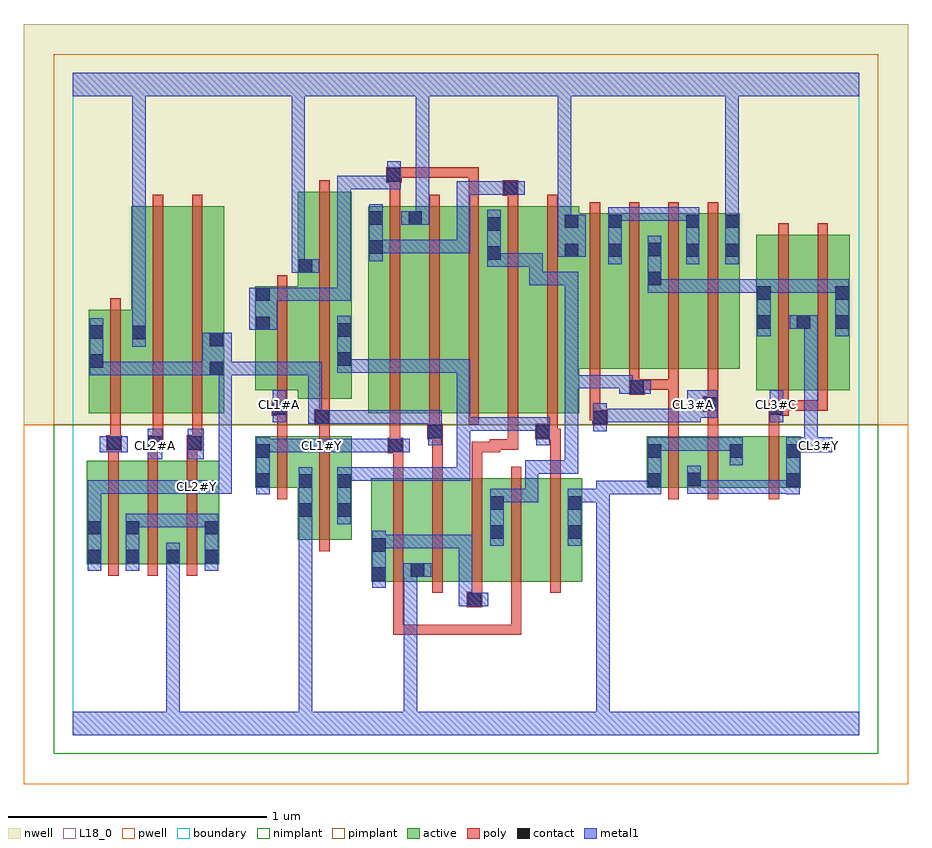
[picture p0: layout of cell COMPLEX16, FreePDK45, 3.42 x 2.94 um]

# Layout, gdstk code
import gdstk
lib = gdstk.Library(unit=1e-6, precision=1e-09)
def R(c, l, rs):  # rectangles x0, y0, x1, y1
    for r in rs: c.add(gdstk.rectangle(r[:2], r[2:], *l))
def A(c, l, x, y, w, h, nx, ny, dx, dy):  # array of equal rectangles
    R(c, l, [(x+i*dx, y+j*dy, x+i*dx+w, y+j*dy+h) for i in range(nx) for j in range(ny)])
active = (1, 0)
pwell = (2, 0)
nwell = (3, 0)
nimplant = (4, 0)
pimplant = (5, 0)
poly = (9, 0)
contact = (10, 0)
metal1 = (11, 0)
L18_0 = (18, 0)
boundary = (235, 0)

complex16 = lib.new_cell('COMPLEX16')
R(complex16, active, [(1.154,0.594,1.362,0.994), (1.154,0.594,1.214,0.994), (1.302,0.594,1.486,0.994), (1.486,0.594,1.67,0.994), (1.61,0.594,1.79,0.994), (1.79,0.594,1.97,0.994), (1.302,0.608,1.362,0.816), (0.054,0.66,0.262,1.06), (0.054,0.66,0.114,1.06), (0.202,0.66,0.418,1.06), (0.202,0.66,0.262,1.04), (0.358,0.66,0.566,1.06), (0.358,0.66,0.418,0.902), (0.506,0.66,0.566,1.06), (1.61,0.672,1.67,0.928), (1.91,0.672,1.97,0.994), (0.87,0.756,1.078,1.156), (1.018,0.756,1.078,1.156), (0.87,0.84,0.93,1.062), (0.706,0.956,0.766,1.156), (0.706,0.956,0.93,1.156), (2.218,0.956,2.278,1.156), (2.218,0.956,2.43,1.156), (2.37,0.956,2.594,1.156), (2.37,0.956,2.43,1.034), (2.534,0.956,2.814,1.156), (2.534,0.956,2.594,1.128), (2.754,0.956,2.814,1.156), (0.062,1.244,0.122,1.644), (0.062,1.244,0.286,1.644), (0.226,1.244,0.406,2.044), (0.406,1.244,0.586,2.044), (0.526,1.244,0.586,2.044), (1.142,1.244,1.354,2.044), (1.142,1.244,1.202,2.044), (1.294,1.244,1.474,2.044), (1.474,1.244,1.658,2.044), (1.598,1.244,1.778,2.044), (1.778,1.244,1.958,2.044), (0.87,1.3,1.078,2.1), (1.018,1.3,1.078,2.044), (0.706,1.334,0.766,1.734), (0.706,1.334,0.93,1.734), (2.642,1.334,2.702,1.844), (2.642,1.334,2.854,1.934), (2.794,1.334,3.002,1.934), (2.942,1.334,3.002,1.844), (0.226,1.346,0.286,1.746), (2.794,1.394,2.854,1.844), (1.898,1.416,1.958,2.016), (1.898,1.416,2.126,2.016), (2.066,1.416,2.278,2.016), (2.218,1.416,2.426,2.016), (2.218,1.416,2.278,1.934), (2.366,1.416,2.578,2.016), (2.366,1.416,2.426,2.016), (2.518,1.416,2.578,2.016), (1.294,1.446,1.354,2.044), (0.87,1.58,0.93,1.97), (1.598,1.65,1.658,2.044), (2.066,1.672,2.126,2.016)])
R(complex16, pwell, [(-0.188,-0.188,3.228,1.2)])
R(complex16, nwell, [(-0.188,1.2,3.228,2.748)])
R(complex16, nimplant, [(-0.072,-0.072,3.112,1.2)])
R(complex16, pimplant, [(-0.072,1.2,3.112,2.632)])
A(complex16, poly, 1.238, 0.55, 0.04, 0.488, 5, 1, 0.152, 0)
A(complex16, poly, 0.138, 0.616, 0.04, 0.488, 3, 1, 0.152, 0)
A(complex16, poly, 0.138, 1.064, 0.04, 0.076, 3, 1, 0.152, 0)
A(complex16, poly, 1.226, 1.2, 0.04, 0.888, 5, 1, 0.152, 0)
A(complex16, poly, 1.998, 1.372, 0.04, 0.688, 4, 1, 0.152, 0)
R(complex16, poly, [(1.238,0.388,1.278,0.428), (1.238,0.388,1.278,0.428), (1.238,0.388,1.278,0.428), (1.238,0.388,1.278,0.59), (1.238,0.388,1.384,0.428), (1.344,0.388,1.384,0.428), (1.344,0.388,1.384,0.428), (1.344,0.388,1.384,0.428), (1.344,0.388,1.384,0.428), (1.344,0.388,1.384,0.428), (1.344,0.388,1.49,0.428), (1.45,0.388,1.49,0.428), (1.45,0.388,1.688,0.428), (1.648,0.388,1.688,0.428), (1.648,0.388,1.688,0.428), (1.648,0.388,1.688,0.428), (1.648,0.388,1.734,0.428), (1.694,0.388,1.734,0.428), (1.694,0.388,1.734,0.59), (1.522,0.494,1.582,0.554), (1.542,0.514,1.582,0.59), (0.954,0.712,0.994,1.2), (0.79,0.912,0.83,1.2), (2.302,0.912,2.342,1.2), (2.454,0.912,2.494,1.2), (2.69,0.912,2.73,1.2), (1.238,0.998,1.278,1.13), (1.39,0.998,1.43,1.184), (1.542,0.998,1.582,1.134), (1.846,0.998,1.886,1.184), (1.218,1.09,1.278,1.15), (1.542,1.094,1.582,1.134), (1.542,1.094,1.652,1.134), (1.612,1.094,1.652,1.134), (1.612,1.094,1.652,1.144), (0.13,1.1,0.19,1.16), (0.138,1.1,0.178,1.14), (0.138,1.1,0.178,1.14), (0.29,1.1,0.33,1.14), (0.29,1.1,0.33,1.14), (0.29,1.1,0.35,1.16), (0.442,1.1,0.482,1.14), (0.442,1.1,0.482,1.14), (0.442,1.1,0.502,1.16), (1.612,1.104,1.652,1.144), (1.612,1.104,1.722,1.144), (1.682,1.104,1.722,1.144), (1.682,1.104,1.722,1.24), (1.226,1.11,1.266,1.15), (1.226,1.11,1.266,1.15), (1.226,1.11,1.266,1.24), (0.146,1.12,0.186,1.24), (0.31,1.12,0.35,1.24), (0.462,1.12,0.502,1.24), (1.37,1.144,1.43,1.204), (1.39,1.144,1.43,1.184), (1.39,1.144,1.43,1.184), (1.788,1.144,1.874,1.204), (1.834,1.144,1.874,1.184), (1.834,1.144,1.886,1.184), (0.79,1.16,0.83,1.274), (0.954,1.16,0.994,1.24), (2.302,1.16,2.342,1.376), (2.454,1.16,2.494,1.29), (2.69,1.16,2.73,1.274), (1.378,1.164,1.418,1.24), (1.834,1.164,1.874,1.24), (2.008,1.198,2.068,1.258), (0.146,1.2,0.186,1.688), (0.31,1.2,0.35,2.088), (0.462,1.2,0.502,2.088), (0.934,1.2,0.994,1.26), (0.954,1.2,0.994,1.24), (0.954,1.2,0.994,1.24), (1.998,1.218,2.038,1.412), (1.998,1.218,2.048,1.258), (2.008,1.218,2.048,1.258), (0.954,1.22,0.994,1.296), (0.77,1.234,0.83,1.294), (2.69,1.234,2.73,1.274), (2.69,1.234,2.73,1.274), (2.69,1.234,2.766,1.294), (2.434,1.25,2.494,1.31), (0.79,1.254,0.83,1.33), (0.79,1.254,0.83,1.294), (0.79,1.254,0.83,1.294), (2.726,1.254,2.766,1.33), (2.726,1.254,2.918,1.294), (2.726,1.254,2.766,1.294), (2.726,1.254,2.766,1.294), (2.878,1.254,2.918,1.33), (2.878,1.254,2.918,1.294), (0.954,1.256,0.994,2.144), (2.454,1.27,2.494,1.31), (2.454,1.27,2.494,1.31), (2.454,1.27,2.494,1.412), (0.79,1.29,0.83,1.778), (2.726,1.29,2.766,1.978), (2.878,1.29,2.918,1.978), (2.15,1.316,2.21,1.376), (2.15,1.336,2.19,1.412), (2.17,1.336,2.21,1.376), (2.17,1.336,2.21,1.376), (2.17,1.336,2.342,1.376), (2.302,1.336,2.342,1.412), (2.302,1.336,2.342,1.376), (2.302,1.336,2.342,1.376), (2.302,1.336,2.342,1.376), (1.226,2.048,1.266,2.174), (1.53,2.048,1.57,2.194), (1.682,2.048,1.722,2.124), (1.662,2.084,1.722,2.144), (1.212,2.134,1.272,2.194), (1.232,2.154,1.272,2.194), (1.232,2.154,1.272,2.194), (1.232,2.154,1.384,2.194), (1.344,2.154,1.384,2.194), (1.344,2.154,1.384,2.194), (1.344,2.154,1.384,2.194), (1.344,2.154,1.57,2.194), (1.53,2.154,1.57,2.194)])
R(complex16, contact, [(1.526,0.498,1.578,0.55), (1.158,0.598,1.21,0.65), (1.306,0.612,1.358,0.664), (0.058,0.664,0.11,0.716), (0.206,0.664,0.258,0.716), (0.362,0.664,0.414,0.716), (0.51,0.664,0.562,0.716), (1.158,0.71,1.21,0.762), (1.614,0.76,1.666,0.812), (1.914,0.76,1.966,0.812), (0.058,0.776,0.11,0.828), (0.206,0.776,0.258,0.828), (0.51,0.776,0.562,0.828), (0.874,0.844,0.926,0.896), (1.022,0.844,1.074,0.896), (1.614,0.872,1.666,0.924), (1.914,0.872,1.966,0.924), (0.874,0.956,0.926,1.008), (1.022,0.956,1.074,1.008), (0.71,0.96,0.762,1.012), (2.222,0.96,2.274,1.012), (2.758,0.96,2.81,1.012), (2.374,0.962,2.426,1.014), (0.71,1.072,0.762,1.124), (2.222,1.072,2.274,1.124), (2.538,1.072,2.59,1.124), (2.758,1.072,2.81,1.124), (1.222,1.094,1.274,1.146), (0.134,1.104,0.186,1.156), (0.294,1.104,0.346,1.156), (0.446,1.104,0.498,1.156), (1.374,1.148,1.426,1.2), (1.792,1.148,1.844,1.2), (2.012,1.202,2.064,1.254), (0.938,1.204,0.99,1.256), (0.774,1.238,0.826,1.29), (2.694,1.238,2.746,1.29), (2.438,1.254,2.49,1.306), (2.154,1.32,2.206,1.372), (0.53,1.392,0.582,1.444), (0.066,1.42,0.118,1.472), (1.022,1.428,1.074,1.48), (0.53,1.504,0.582,1.556), (0.23,1.53,0.282,1.582), (0.066,1.532,0.118,1.584), (1.022,1.54,1.074,1.592), (0.71,1.566,0.762,1.618), (2.646,1.57,2.698,1.622), (2.798,1.57,2.85,1.622), (2.946,1.57,2.998,1.622), (0.71,1.678,0.762,1.73), (2.646,1.682,2.698,1.734), (2.946,1.682,2.998,1.734), (2.222,1.738,2.274,1.79), (0.874,1.788,0.926,1.84), (1.602,1.838,1.654,1.89), (1.902,1.848,1.954,1.9), (2.07,1.848,2.122,1.9), (2.37,1.848,2.422,1.9), (2.522,1.848,2.574,1.9), (2.222,1.85,2.274,1.902), (1.146,1.86,1.198,1.912), (1.602,1.95,1.654,2.002), (1.902,1.96,1.954,2.012), (2.07,1.96,2.122,2.012), (2.37,1.96,2.422,2.012), (2.522,1.96,2.574,2.012), (1.146,1.972,1.198,2.024), (1.298,1.972,1.35,2.024), (1.666,2.088,1.718,2.14), (1.216,2.138,1.268,2.19)])
A(complex16, metal1, 0.206, 0.934, 0.052, 0.052, 3, 1, 0.11, 0)
R(complex16, metal1, [(0,0,3.04,0.092), (0.362,0.04,0.414,0.092), (0.362,0.04,0.414,0.092), (0.362,0.04,0.414,0.092), (0.362,0.04,0.414,0.092), (0.362,0.04,0.414,0.092), (0.362,0.04,0.414,0.092), (0.362,0.04,0.414,0.092), (0.362,0.04,0.414,0.092), (0.362,0.04,0.414,0.092), (0.362,0.04,0.414,0.092), (0.362,0.04,0.414,0.688), (0.874,0.04,0.926,0.092), (0.874,0.04,0.926,0.092), (0.874,0.04,0.926,0.092), (0.874,0.04,0.926,0.092), (0.874,0.04,0.926,0.092), (0.874,0.04,0.926,0.092), (0.874,0.04,0.926,0.868), (1.28,0.04,1.332,0.092), (1.28,0.04,1.332,0.092), (1.28,0.04,1.332,0.092), (1.28,0.04,1.332,0.092), (1.28,0.04,1.332,0.092), (1.28,0.04,1.332,0.092), (1.28,0.04,1.332,0.092), (1.28,0.04,1.332,0.092), (1.28,0.04,1.332,0.092), (1.28,0.04,1.332,0.092), (1.28,0.04,1.332,0.664), (2.024,0.04,2.076,0.092), (2.024,0.04,2.076,0.092), (2.024,0.04,2.076,0.092), (2.024,0.04,2.076,0.092), (2.024,0.04,2.076,0.092), (2.024,0.04,2.076,0.092), (2.024,0.04,2.076,0.092), (2.024,0.04,2.076,0.092), (2.024,0.04,2.076,0.092), (2.024,0.04,2.076,0.092), (2.024,0.04,2.076,0.092), (2.024,0.04,2.076,0.092), (2.024,0.04,2.076,0.952), (1.492,0.498,1.544,0.55), (1.492,0.498,1.55,0.55), (1.492,0.498,1.544,0.774), (1.498,0.498,1.606,0.55), (1.158,0.57,1.21,0.79), (1.278,0.612,1.386,0.664), (1.28,0.612,1.332,0.664), (1.28,0.612,1.332,0.664), (0.058,0.636,0.11,0.856), (0.206,0.636,0.258,0.856), (0.362,0.636,0.414,0.688), (0.362,0.636,0.414,0.688), (0.362,0.636,0.414,0.744), (0.51,0.636,0.562,0.856), (1.158,0.722,1.21,0.774), (1.158,0.722,1.21,0.774), (1.158,0.722,1.412,0.774), (1.36,0.722,1.412,0.774), (1.36,0.722,1.412,0.774), (1.36,0.722,1.412,0.774), (1.36,0.722,1.544,0.774), (1.492,0.722,1.544,0.774), (1.492,0.722,1.544,0.774), (1.492,0.722,1.544,0.774), (1.614,0.732,1.666,0.952), (1.914,0.732,1.966,0.952), (0.058,0.804,0.11,0.986), (0.206,0.804,0.258,0.856), (0.206,0.804,0.258,0.856), (0.206,0.804,0.368,0.856), (0.316,0.804,0.368,0.856), (0.316,0.804,0.368,0.856), (0.316,0.804,0.368,0.856), (0.316,0.804,0.562,0.856), (0.874,0.816,0.926,0.868), (0.874,0.816,0.926,0.868), (0.874,0.816,0.926,0.868), (0.874,0.816,0.926,0.868), (0.874,0.816,0.926,0.868), (0.874,0.816,0.926,0.868), (0.874,0.816,0.926,1.036), (1.022,0.816,1.074,1.036), (1.614,0.9,1.666,0.952), (1.614,0.9,1.666,0.952), (1.614,0.9,1.8,0.952), (1.748,0.9,1.8,0.952), (1.748,0.9,1.8,1.062), (1.914,0.9,1.966,0.952), (1.914,0.9,1.966,0.952), (1.914,0.9,2.076,0.952), (2.024,0.9,2.076,0.952), (2.024,0.9,2.076,0.952), (2.024,0.9,2.076,0.952), (2.024,0.9,2.076,0.952), (2.024,0.9,2.076,0.952), (2.024,0.9,2.076,0.952), (2.024,0.9,2.076,0.984), (0.71,0.932,0.762,1.152), (2.024,0.932,2.174,0.984), (2.122,0.932,2.174,0.984), (2.122,0.932,2.274,0.984), (2.222,0.932,2.274,1.152), (2.758,0.932,2.81,1.152), (0.058,0.934,0.11,0.986), (0.058,0.934,0.11,0.986), (0.058,0.934,0.11,0.986), (0.058,0.934,0.258,0.986), (0.206,0.934,0.258,0.986), (0.206,0.934,0.258,0.986), (0.206,0.934,0.368,0.986), (0.316,0.934,0.478,0.986), (0.426,0.934,0.478,0.986), (0.426,0.934,0.616,0.986), (0.564,0.934,0.616,1.444), (2.374,0.934,2.426,0.986), (2.374,0.934,2.426,0.986), (2.374,0.934,2.636,0.986), (2.374,0.934,2.426,1.042), (2.584,0.934,2.636,0.986), (2.584,0.934,2.7,0.986), (2.648,0.934,2.7,0.986), (2.648,0.934,2.7,0.986), (2.648,0.934,2.7,0.986), (2.648,0.934,2.81,0.986), (2.758,0.934,2.81,0.986), (2.758,0.934,2.81,0.986), (1.022,0.984,1.184,1.036), (1.132,0.984,1.184,1.036), (1.132,0.984,1.184,1.036), (1.132,0.984,1.184,1.036), (1.132,0.984,1.412,1.036), (1.36,0.984,1.412,1.036), (1.36,0.984,1.412,1.036), (1.36,0.984,1.412,1.036), (1.36,0.984,1.412,1.036), (1.36,0.984,1.412,1.036), (1.36,0.984,1.536,1.036), (1.484,0.984,1.536,1.036), (1.484,0.984,1.536,1.228), (1.748,1.01,1.8,1.062), (1.748,1.01,1.8,1.062), (1.748,1.01,1.8,1.062), (1.748,1.01,1.954,1.062), (1.902,1.01,1.954,1.062), (1.902,1.01,1.954,1.392), (2.538,1.044,2.59,1.152), (0.29,1.066,0.346,1.184), (0.446,1.066,0.506,1.184), (0.106,1.094,0.214,1.156), (0.71,1.094,0.762,1.146), (0.71,1.094,0.762,1.146), (0.71,1.094,0.958,1.146), (0.906,1.094,0.958,1.146), (0.906,1.094,0.958,1.146), (0.906,1.094,0.958,1.146), (0.906,1.094,0.958,1.146), (0.906,1.094,1.014,1.146), (0.962,1.094,1.074,1.146), (1.022,1.094,1.074,1.146), (1.022,1.094,1.212,1.146), (1.16,1.094,1.212,1.146), (1.16,1.094,1.246,1.146), (1.194,1.094,1.302,1.146), (2.758,1.094,2.81,1.146), (2.758,1.094,2.934,1.152), (2.222,1.1,2.316,1.152), (2.264,1.1,2.316,1.152), (2.264,1.1,2.426,1.152), (2.374,1.1,2.426,1.152), (2.374,1.1,2.426,1.152), (2.374,1.1,2.426,1.152), (2.374,1.1,2.59,1.152), (2.826,1.1,2.878,1.622), (1.374,1.12,1.426,1.228), (1.792,1.12,1.844,1.228), (2.012,1.174,2.064,1.282), (1.374,1.176,1.426,1.228), (1.374,1.176,1.426,1.256), (1.484,1.176,1.536,1.228), (1.484,1.176,1.536,1.228), (1.484,1.176,1.536,1.228), (1.484,1.176,1.69,1.228), (1.484,1.176,1.536,1.452), (1.638,1.176,1.69,1.228), (1.638,1.176,1.69,1.228), (1.638,1.176,1.69,1.228), (1.638,1.176,1.816,1.228), (1.764,1.176,1.816,1.228), (1.764,1.176,1.844,1.228), (0.91,1.204,0.962,1.256), (0.91,1.204,1.018,1.256), (0.91,1.204,0.962,1.444), (0.966,1.204,1.074,1.256), (1.022,1.204,1.074,1.256), (1.022,1.204,1.184,1.256), (1.132,1.204,1.184,1.256), (1.132,1.204,1.184,1.256), (1.132,1.204,1.184,1.256), (1.132,1.204,1.426,1.256), (0.774,1.21,0.826,1.334), (2.012,1.21,2.098,1.262), (2.046,1.21,2.098,1.262), (2.046,1.21,2.174,1.262), (2.122,1.21,2.174,1.262), (2.122,1.21,2.312,1.262), (2.26,1.21,2.312,1.262), (2.26,1.21,2.312,1.262), (2.26,1.21,2.312,1.262), (2.26,1.21,2.426,1.262), (2.374,1.21,2.426,1.278), (2.694,1.21,2.746,1.334), (2.374,1.226,2.426,1.278), (2.374,1.226,2.49,1.334), (2.112,1.32,2.178,1.372), (2.112,1.32,2.164,1.392), (2.126,1.32,2.234,1.372), (1.902,1.34,1.954,1.392), (1.902,1.34,1.954,1.392), (1.902,1.34,1.954,1.392), (1.902,1.34,2.164,1.392), (1.902,1.34,1.954,1.79), (0.066,1.392,0.118,1.444), (0.066,1.392,0.118,1.444), (0.066,1.392,0.118,1.612), (0.066,1.392,0.258,1.444), (0.206,1.392,0.258,1.444), (0.206,1.392,0.258,1.444), (0.206,1.392,0.258,1.444), (0.206,1.392,0.368,1.444), (0.316,1.392,0.368,1.444), (0.316,1.392,0.368,1.444), (0.316,1.392,0.368,1.444), (0.316,1.392,0.554,1.444), (0.502,1.392,0.616,1.556), (0.564,1.392,0.616,1.444), (0.564,1.392,0.616,1.444), (0.564,1.392,0.616,1.444), (0.564,1.392,0.616,1.444), (0.564,1.392,0.848,1.444), (0.796,1.392,0.848,1.444), (0.796,1.392,0.962,1.444), (1.022,1.4,1.074,1.62), (1.022,1.4,1.184,1.452), (1.132,1.4,1.184,1.452), (1.132,1.4,1.184,1.452), (1.132,1.4,1.184,1.452), (1.132,1.4,1.426,1.452), (1.374,1.4,1.426,1.452), (1.374,1.4,1.426,1.452), (1.374,1.4,1.426,1.452), (1.374,1.4,1.536,1.452), (1.484,1.4,1.536,1.452), (0.23,1.502,0.282,1.61), (2.646,1.542,2.698,1.762), (2.946,1.542,2.998,1.762), (0.23,1.558,0.282,1.61), (0.23,1.558,0.282,1.61), (0.23,1.558,0.282,1.61), (0.23,1.558,0.282,1.61), (0.23,1.558,0.282,1.61), (0.23,1.558,0.282,1.61), (0.23,1.558,0.282,2.52), (0.682,1.566,0.79,1.73), (2.77,1.57,2.878,1.622), (2.826,1.57,2.878,1.622), (2.826,1.57,2.878,1.622), (0.736,1.678,0.788,1.73), (0.736,1.678,0.788,1.73), (0.736,1.678,0.788,1.73), (0.736,1.678,0.788,1.73), (0.736,1.678,0.788,1.73), (0.736,1.678,0.788,1.73), (0.736,1.678,0.788,1.73), (0.736,1.678,0.788,1.73), (0.736,1.678,0.964,1.73), (0.912,1.678,0.964,1.73), (0.912,1.678,1.074,1.73), (1.022,1.678,1.074,1.73), (1.022,1.678,1.074,1.73), (1.022,1.678,1.074,1.73), (1.022,1.678,1.074,2.162), (2.222,1.71,2.274,1.93), (2.222,1.71,2.284,1.762), (2.232,1.71,2.284,1.762), (2.232,1.71,2.426,1.762), (2.374,1.71,2.426,1.762), (2.374,1.71,2.426,1.762), (2.374,1.71,2.426,1.762), (2.374,1.71,2.636,1.762), (2.584,1.71,2.636,1.762), (2.584,1.71,2.698,1.762), (2.646,1.71,2.698,1.762), (2.646,1.71,2.698,1.762), (2.646,1.71,2.81,1.762), (2.758,1.71,2.81,1.762), (2.758,1.71,2.81,1.762), (2.758,1.71,2.81,1.762), (2.758,1.71,2.998,1.762), (2.946,1.71,2.998,1.762), (2.946,1.71,2.998,1.762), (1.764,1.738,1.816,1.79), (1.764,1.738,1.816,1.79), (1.764,1.738,1.816,1.862), (1.764,1.738,1.954,1.79), (1.902,1.738,1.954,1.79), (0.846,1.788,0.898,1.84), (0.846,1.788,0.898,1.84), (0.846,1.788,0.898,1.84), (0.846,1.788,0.898,1.84), (0.846,1.788,0.898,1.84), (0.846,1.788,0.898,1.84), (0.846,1.788,0.954,1.84), (0.846,1.788,0.898,2.52), (1.602,1.81,1.654,1.862), (1.602,1.81,1.654,1.862), (1.602,1.81,1.654,2.03), (1.602,1.81,1.816,1.862), (2.07,1.82,2.122,2.04), (2.37,1.82,2.422,2.04), (2.522,1.82,2.574,2.04), (1.146,1.832,1.198,2.052), (1.874,1.848,1.982,2.012), (1.146,1.862,1.198,1.914), (1.146,1.862,1.198,1.914), (1.146,1.862,1.412,1.914), (1.36,1.862,1.412,1.914), (1.36,1.862,1.412,1.914), (1.36,1.862,1.412,1.914), (1.36,1.862,1.536,1.914), (1.484,1.862,1.536,1.914), (1.484,1.862,1.536,1.914), (1.484,1.862,1.536,1.914), (1.484,1.862,1.536,2.14), (1.874,1.96,1.926,2.012), (1.874,1.96,1.926,2.012), (1.874,1.96,1.926,2.012), (1.874,1.96,1.926,2.012), (1.874,1.96,1.926,2.52), (1.27,1.972,1.378,2.024), (1.326,1.972,1.378,2.52), (2.07,1.988,2.174,2.04), (2.122,1.988,2.174,2.04), (2.122,1.988,2.284,2.04), (2.232,1.988,2.284,2.04), (2.232,1.988,2.284,2.04), (2.232,1.988,2.284,2.04), (2.232,1.988,2.422,2.04), (2.522,1.988,2.574,2.04), (2.522,1.988,2.574,2.04), (2.522,1.988,2.574,2.04), (2.522,1.988,2.574,2.04), (2.522,1.988,2.574,2.04), (2.522,1.988,2.574,2.04), (2.522,1.988,2.574,2.04), (2.522,1.988,2.574,2.04), (2.522,1.988,2.574,2.04), (2.522,1.988,2.574,2.04), (2.522,1.988,2.574,2.52), (1.484,2.088,1.536,2.14), (1.484,2.088,1.536,2.14), (1.484,2.088,1.536,2.14), (1.484,2.088,1.69,2.14), (1.638,2.088,1.69,2.14), (1.638,2.088,1.69,2.14), (1.638,2.088,1.746,2.14), (1.022,2.11,1.074,2.162), (1.022,2.11,1.074,2.162), (1.022,2.11,1.074,2.162), (1.022,2.11,1.184,2.162), (1.132,2.11,1.184,2.162), (1.132,2.11,1.268,2.162), (1.216,2.11,1.268,2.218), (0,2.468,3.04,2.56), (0.23,2.468,0.282,2.52), (0.23,2.468,0.282,2.52), (0.846,2.468,0.898,2.52), (0.846,2.468,0.898,2.52), (1.326,2.468,1.378,2.52), (1.326,2.468,1.378,2.52), (1.326,2.468,1.378,2.52), (1.326,2.468,1.378,2.52), (1.326,2.468,1.378,2.52), (1.326,2.468,1.378,2.52), (1.326,2.468,1.378,2.52), (1.326,2.468,1.378,2.52), (1.874,2.468,1.926,2.52), (1.874,2.468,1.926,2.52), (1.874,2.468,1.926,2.52), (1.874,2.468,1.926,2.52), (2.522,2.468,2.574,2.52), (2.522,2.468,2.574,2.52)])
A(complex16, L18_0, 0.206, 0.934, 0.052, 0.052, 3, 1, 0.11, 0)
A(complex16, L18_0, 0.134, 1.094, 0.052, 0.052, 3, 1, 0.16, 0)
R(complex16, L18_0, [(0,0,3.04,0.092), (0.362,0.04,0.414,0.092), (0.362,0.04,0.414,0.092), (0.362,0.04,0.414,0.092), (0.362,0.04,0.414,0.092), (0.362,0.04,0.414,0.092), (0.362,0.04,0.414,0.092), (0.362,0.04,0.414,0.092), (0.362,0.04,0.414,0.092), (0.362,0.04,0.414,0.092), (0.362,0.04,0.414,0.092), (0.362,0.04,0.414,0.688), (0.874,0.04,0.926,0.092), (0.874,0.04,0.926,0.092), (0.874,0.04,0.926,0.092), (0.874,0.04,0.926,0.092), (0.874,0.04,0.926,0.092), (0.874,0.04,0.926,0.092), (0.874,0.04,0.926,0.868), (1.28,0.04,1.332,0.092), (1.28,0.04,1.332,0.092), (1.28,0.04,1.332,0.092), (1.28,0.04,1.332,0.092), (1.28,0.04,1.332,0.092), (1.28,0.04,1.332,0.092), (1.28,0.04,1.332,0.092), (1.28,0.04,1.332,0.092), (1.28,0.04,1.332,0.092), (1.28,0.04,1.332,0.092), (1.28,0.04,1.332,0.664), (2.024,0.04,2.076,0.092), (2.024,0.04,2.076,0.092), (2.024,0.04,2.076,0.092), (2.024,0.04,2.076,0.092), (2.024,0.04,2.076,0.092), (2.024,0.04,2.076,0.092), (2.024,0.04,2.076,0.092), (2.024,0.04,2.076,0.092), (2.024,0.04,2.076,0.092), (2.024,0.04,2.076,0.092), (2.024,0.04,2.076,0.092), (2.024,0.04,2.076,0.092), (2.024,0.04,2.076,0.952), (1.278,0.612,1.386,0.664), (1.28,0.612,1.332,0.664), (1.28,0.612,1.332,0.664), (0.058,0.636,0.11,0.856), (0.362,0.636,0.414,0.688), (0.362,0.636,0.414,0.688), (0.362,0.636,0.414,0.744), (1.914,0.732,1.966,0.952), (0.058,0.804,0.11,0.986), (0.874,0.816,0.926,1.036), (0.874,0.816,0.926,0.868), (0.874,0.816,0.926,0.868), (0.874,0.816,0.926,0.868), (0.874,0.816,0.926,0.868), (0.874,0.816,0.926,0.868), (0.874,0.816,0.926,0.868), (1.914,0.9,1.966,0.952), (1.914,0.9,1.966,0.952), (1.914,0.9,2.076,0.952), (2.024,0.9,2.076,0.952), (2.024,0.9,2.076,0.952), (2.024,0.9,2.076,0.952), (2.024,0.9,2.076,0.952), (2.024,0.9,2.076,0.952), (2.024,0.9,2.076,0.952), (2.024,0.9,2.076,0.984), (0.71,0.932,0.762,1.152), (2.024,0.932,2.174,0.984), (2.122,0.932,2.174,0.984), (2.122,0.932,2.274,0.984), (2.222,0.932,2.274,1.152), (2.758,0.932,2.81,1.152), (0.058,0.934,0.11,0.986), (0.058,0.934,0.11,0.986), (0.058,0.934,0.11,0.986), (0.058,0.934,0.258,0.986), (0.206,0.934,0.258,0.986), (0.206,0.934,0.258,0.986), (0.206,0.934,0.368,0.986), (0.316,0.934,0.478,0.986), (0.426,0.934,0.478,0.986), (0.426,0.934,0.616,0.986), (0.454,0.934,0.506,0.986), (0.564,0.934,0.616,1.444), (2.374,0.934,2.426,0.986), (2.374,0.934,2.426,0.986), (2.374,0.934,2.426,1.042), (2.374,0.934,2.636,0.986), (2.584,0.934,2.636,0.986), (2.584,0.934,2.7,0.986), (2.648,0.934,2.7,0.986), (2.648,0.934,2.7,0.986), (2.648,0.934,2.7,0.986), (2.648,0.934,2.81,0.986), (2.758,0.934,2.81,0.986), (2.758,0.934,2.81,0.986), (2.538,1.044,2.59,1.152), (0.29,1.066,0.346,1.184), (0.446,1.066,0.506,1.184), (0.106,1.094,0.214,1.156), (0.71,1.094,0.762,1.146), (0.71,1.094,0.762,1.146), (0.71,1.094,0.958,1.146), (0.906,1.094,0.958,1.146), (0.906,1.094,0.958,1.146), (0.906,1.094,0.958,1.146), (0.906,1.094,0.958,1.146), (0.906,1.094,1.014,1.146), (0.934,1.094,0.986,1.146), (0.962,1.094,1.074,1.146), (1.022,1.094,1.074,1.146), (1.022,1.094,1.212,1.146), (1.16,1.094,1.212,1.146), (1.16,1.094,1.246,1.146), (1.194,1.094,1.302,1.146), (2.758,1.094,2.81,1.146), (2.758,1.094,2.934,1.152), (2.854,1.094,2.906,1.146), (2.222,1.1,2.316,1.152), (2.264,1.1,2.316,1.152), (2.264,1.1,2.426,1.152), (2.374,1.1,2.426,1.152), (2.374,1.1,2.426,1.152), (2.374,1.1,2.426,1.152), (2.374,1.1,2.59,1.152), (2.826,1.1,2.878,1.622), (1.374,1.12,1.426,1.228), (2.012,1.174,2.064,1.282), (1.374,1.176,1.426,1.228), (1.374,1.176,1.426,1.256), (0.91,1.204,0.962,1.256), (0.91,1.204,0.962,1.444), (0.91,1.204,1.018,1.256), (0.966,1.204,1.074,1.256), (1.022,1.204,1.074,1.256), (1.022,1.204,1.184,1.256), (1.132,1.204,1.184,1.256), (1.132,1.204,1.184,1.256), (1.132,1.204,1.184,1.256), (1.132,1.204,1.426,1.256), (0.774,1.21,0.826,1.334), (2.012,1.21,2.098,1.262), (2.046,1.21,2.098,1.262), (2.046,1.21,2.174,1.262), (2.122,1.21,2.174,1.262), (2.122,1.21,2.312,1.262), (2.26,1.21,2.312,1.262), (2.26,1.21,2.312,1.262), (2.26,1.21,2.312,1.262), (2.26,1.21,2.426,1.262), (2.374,1.21,2.426,1.278), (2.694,1.21,2.746,1.334), (2.374,1.226,2.426,1.278), (2.374,1.226,2.49,1.334), (0.774,1.254,0.826,1.306), (2.374,1.254,2.426,1.306), (2.694,1.254,2.746,1.306), (0.066,1.392,0.118,1.612), (0.066,1.392,0.118,1.444), (0.066,1.392,0.118,1.444), (0.066,1.392,0.258,1.444), (0.206,1.392,0.258,1.444), (0.206,1.392,0.258,1.444), (0.206,1.392,0.258,1.444), (0.206,1.392,0.368,1.444), (0.316,1.392,0.368,1.444), (0.316,1.392,0.368,1.444), (0.316,1.392,0.368,1.444), (0.316,1.392,0.554,1.444), (0.502,1.392,0.616,1.556), (0.564,1.392,0.616,1.444), (0.564,1.392,0.616,1.444), (0.564,1.392,0.616,1.444), (0.564,1.392,0.616,1.444), (0.564,1.392,0.848,1.444), (0.796,1.392,0.848,1.444), (0.796,1.392,0.962,1.444), (0.23,1.502,0.282,1.61), (0.23,1.558,0.282,1.61), (0.23,1.558,0.282,1.61), (0.23,1.558,0.282,1.61), (0.23,1.558,0.282,1.61), (0.23,1.558,0.282,1.61), (0.23,1.558,0.282,1.61), (0.23,1.558,0.282,2.52), (0.682,1.566,0.79,1.73), (2.77,1.57,2.878,1.622), (2.826,1.57,2.878,1.622), (2.826,1.57,2.878,1.622), (0.736,1.678,0.788,1.73), (0.736,1.678,0.788,1.73), (0.736,1.678,0.788,1.73), (0.736,1.678,0.788,1.73), (0.736,1.678,0.788,1.73), (0.736,1.678,0.788,1.73), (0.736,1.678,0.788,1.73), (0.736,1.678,0.788,1.73), (0.736,1.678,0.964,1.73), (0.912,1.678,0.964,1.73), (0.912,1.678,1.074,1.73), (1.022,1.678,1.074,1.73), (1.022,1.678,1.074,1.73), (1.022,1.678,1.074,1.73), (1.022,1.678,1.074,2.162), (0.846,1.788,0.898,1.84), (0.846,1.788,0.898,1.84), (0.846,1.788,0.898,1.84), (0.846,1.788,0.898,1.84), (0.846,1.788,0.898,1.84), (0.846,1.788,0.898,1.84), (0.846,1.788,0.954,1.84), (0.846,1.788,0.898,2.52), (2.522,1.82,2.574,2.04), (1.874,1.848,1.982,2.012), (1.874,1.96,1.926,2.012), (1.874,1.96,1.926,2.012), (1.874,1.96,1.926,2.012), (1.874,1.96,1.926,2.012), (1.874,1.96,1.926,2.52), (1.27,1.972,1.378,2.024), (1.326,1.972,1.378,2.52), (2.522,1.988,2.574,2.04), (2.522,1.988,2.574,2.04), (2.522,1.988,2.574,2.04), (2.522,1.988,2.574,2.04), (2.522,1.988,2.574,2.04), (2.522,1.988,2.574,2.04), (2.522,1.988,2.574,2.04), (2.522,1.988,2.574,2.04), (2.522,1.988,2.574,2.04), (2.522,1.988,2.574,2.04), (2.522,1.988,2.574,2.52), (1.022,2.11,1.074,2.162), (1.022,2.11,1.074,2.162), (1.022,2.11,1.074,2.162), (1.022,2.11,1.184,2.162), (1.132,2.11,1.184,2.162), (1.132,2.11,1.268,2.162), (1.216,2.11,1.268,2.218), (0,2.468,3.04,2.56), (0.23,2.468,0.282,2.52), (0.23,2.468,0.282,2.52), (0.846,2.468,0.898,2.52), (0.846,2.468,0.898,2.52), (1.326,2.468,1.378,2.52), (1.326,2.468,1.378,2.52), (1.326,2.468,1.378,2.52), (1.326,2.468,1.378,2.52), (1.326,2.468,1.378,2.52), (1.326,2.468,1.378,2.52), (1.326,2.468,1.378,2.52), (1.326,2.468,1.378,2.52), (1.874,2.468,1.926,2.52), (1.874,2.468,1.926,2.52), (1.874,2.468,1.926,2.52), (1.874,2.468,1.926,2.52), (2.522,2.468,2.574,2.52), (2.522,2.468,2.574,2.52)])
R(complex16, boundary, [(0,0,3.04,2.56)])
complex16.add(gdstk.Label('CL1#A', (0.8,1.28), layer=11, texttype=0))
complex16.add(gdstk.Label('CL1#Y', (0.96,1.12), layer=11, texttype=0))
complex16.add(gdstk.Label('CL2#A', (0.32,1.12), layer=11, texttype=0))
complex16.add(gdstk.Label('CL2#B', (0.48,1.12), layer=11, texttype=0))
complex16.add(gdstk.Label('CL2#C', (0.16,1.12), layer=11, texttype=0))
complex16.add(gdstk.Label('CL2#Y', (0.48,0.96), layer=11, texttype=0))
complex16.add(gdstk.Label('CL3#A', (2.4,1.28), layer=11, texttype=0))
complex16.add(gdstk.Label('CL3#C', (2.72,1.28), layer=11, texttype=0))
complex16.add(gdstk.Label('CL3#Y', (2.88,1.12), layer=11, texttype=0))

lib.write_gds('COMPLEX16.gds')
